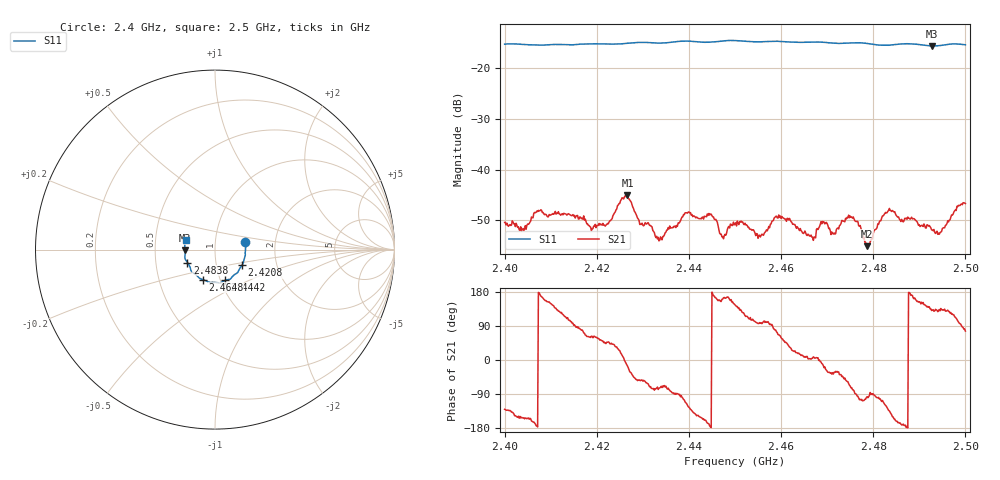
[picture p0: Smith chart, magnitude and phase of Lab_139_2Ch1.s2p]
# Hz S RI R 50
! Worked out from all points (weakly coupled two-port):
!   601 points, 2.4 GHz to 2.5 GHz, reference 50 ohm
!   highest |S21| = -44.99 dB at 2.4267 GHz (marker M1); lowest = -55.1 dB at 2.4787 GHz (marker M2)
!   lowest |S11| = -15.6 dB at 2.4928 GHz (marker M3), VSWR 1.40, Z = 35.8 - j0.356 ohm
!   |S11| at or under -10 dB: start of sweep to end of sweep
!   S12 and S22 are empty: the file has one direction only
!   S11 on the Smith chart (normalised r, x): 2.4 GHz: 1.40, +0.12; 2.4208 GHz: 1.33, -0.24; 2.4442 GHz: 1.05, -0.37; 2.4648 GHz: 0.83, -0.29; 2.4838 GHz: 0.73, -0.11; 2.5 GHz: 0.72, +0.08
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2.4e9  0.1677 0.0412  -0.00195 -0.00231  0 0  0 0
2.404167e9  0.1705 0.0159  -0.00223 -0.00116  0 0  0 0
2.4075e9  0.1688 -0.0134  -0.00392 0.000214  0 0  0 0
2.416667e9  0.1592 -0.068  0.00064 0.00324  0 0  0 0
2.420833e9  0.1507 -0.0871  0.00175 0.00234  0 0  0 0
2.426667e9  0.1315 -0.1177  0.00541 -0.00153  0 0  0 0
2.433333e9  0.1079 -0.1403  0.000454 -0.00211  0 0  0 0
2.4395e9  0.0837 -0.1654  -0.0016 -0.00341  0 0  0 0
2.444167e9  0.0567 -0.1714  -0.00346 -0.000773  0 0  0 0
2.447167e9  0.0365 -0.1817  -0.00205 0.000739  0 0  0 0
2.45e9  0.0246 -0.186  -0.00241 0.00164  0 0  0 0
2.4555e9  -0.0107 -0.1823  -0.000264 0.00216  0 0  0 0
2.46e9  -0.0351 -0.1803  0.00171 0.00283  0 0  0 0
2.464833e9  -0.0684 -0.1669  0.00232 0.000395  0 0  0 0
2.466667e9  -0.08 -0.1628  0.00216 0.000158  0 0  0 0
2.475167e9  -0.1234 -0.1278  0.000983 -0.00326  0 0  0 0
2.478667e9  -0.1354 -0.1116  -0.000214 -0.00175  0 0  0 0
2.483333e9  -0.1506 -0.076  -0.0027 -0.00291  0 0  0 0
2.483833e9  -0.1534 -0.0721  -0.0031 -0.00247  0 0  0 0
2.492833e9  -0.1658 -0.00484  -0.00168 0.00191  0 0  0 0
2.4945e9  -0.1671 0.0129  -0.00154 0.00185  0 0  0 0
2.5e9  -0.1621 0.0532  0.0011 0.00451  0 0  0 0
